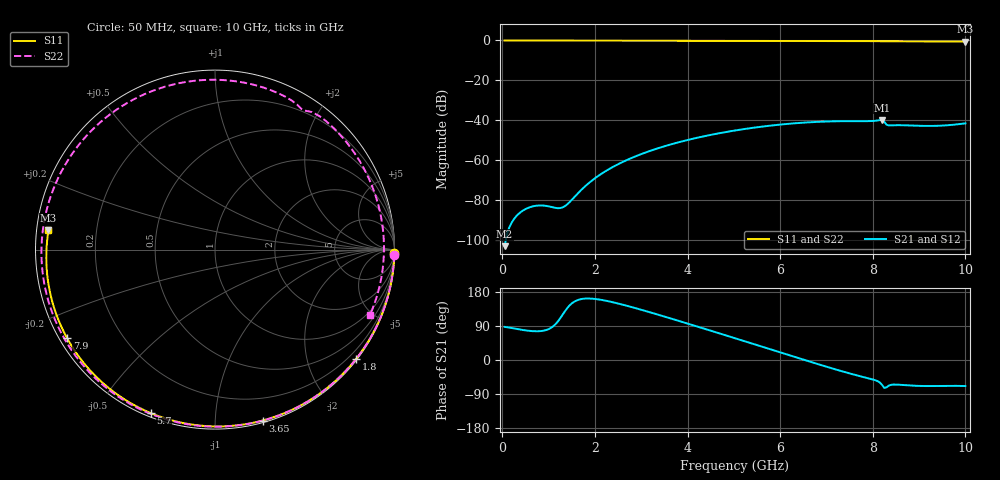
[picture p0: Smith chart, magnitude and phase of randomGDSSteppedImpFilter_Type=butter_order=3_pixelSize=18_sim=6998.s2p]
! freq	dB(S11)	phase(S11)	dB(S12)	phase(S12)
!  dB(S21)	phase(S21)	dB(S22)	phase(S22)
!S-par simulation data
#  GHz  S  DB  R 50
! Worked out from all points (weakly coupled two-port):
!   200 points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, 50 MHz to 10 GHz, reference 50 ohm
!   highest |S21| = -39.89 dB at 8.2 GHz (marker M1); lowest = -103.3 dB at 50 MHz (marker M2)
!   lowest |S11| = -0.6 dB at 10 GHz (marker M3), VSWR 29.25, Z = 1.72 + j2.86 ohm
!   |S11| at or under -10 dB: nowhere
!   |S22| runs from -0.7 to 0.0 dB; largest |S21 - S12| = 0
!   S11 on the Smith chart (normalised r, x): 50 MHz: open; 1.8 GHz: 0.03, -2.91; 3.65 GHz: 0.02, -1.32; 5.7 GHz: 0.02, -0.68; 7.9 GHz: 0.02, -0.28; 10 GHz: 0.03, +0.06
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0.05  -0.00 -1.1  -103.34 87.4  -103.34 87.4  -0.00 -1.7
0.75  -0.02 -16.0  -82.98 75.8  -82.98 75.8  -0.03 -25.0
1.5  -0.04 -31.7  -80.07 149.2  -80.07 149.2  -0.06 -49.5
1.75  -0.05 -36.9  -74.08 161.6  -74.08 161.6  -0.07 -57.6
1.8  -0.05 -37.9  -73.02 162.1  -73.02 162.1  -0.08 -59.2
2.1  -0.06 -44.0  -67.60 159.5  -67.60 159.5  -0.09 -68.8
2.45  -0.07 -51.1  -62.78 150.6  -62.78 150.6  -0.10 -80.0
3.4  -0.09 -69.7  -53.87 118.3  -53.87 118.3  -0.15 -110.2
3.65  -0.10 -74.4  -52.15 109.2  -52.15 109.2  -0.16 -118.2
4.4  -0.13 -88.4  -47.91 81.2  -47.91 81.2  -0.21 -142.7
5.05  -0.15 -100.0  -45.14 56.5  -45.14 56.5  -0.26 -164.9
5.7  -0.19 -111.5  -43.03 31.7  -43.03 31.7  -0.31 171.2
6.2  -0.22 -120.1  -41.83 12.5  -41.83 12.5  -0.36 151.3
6.7  -0.25 -128.6  -41.02 -6.5  -41.02 -6.5  -0.41 130.0
7.35  -0.30 -139.7  -40.55 -30.3  -40.55 -30.3  -0.46 100.0
7.9  -0.35 -149.0  -40.53 -48.3  -40.53 -48.3  -0.52 73.0
8.2  -0.38 -154.2  -39.89 -65.6  -39.89 -65.6  -0.72 58.5
8.35  -0.39 -156.8  -42.68 -67.4  -42.68 -67.4  -0.50 52.0
8.75  -0.44 -163.8  -42.68 -66.9  -42.68 -66.9  -0.49 31.8
9.15  -0.49 -170.9  -42.95 -68.8  -42.95 -68.8  -0.51 13.0
9.55  -0.53 -178.1  -42.70 -68.4  -42.70 -68.4  -0.53 -4.6
10  -0.59 173.4  -41.65 -68.7  -41.65 -68.7  -0.56 -23.0
